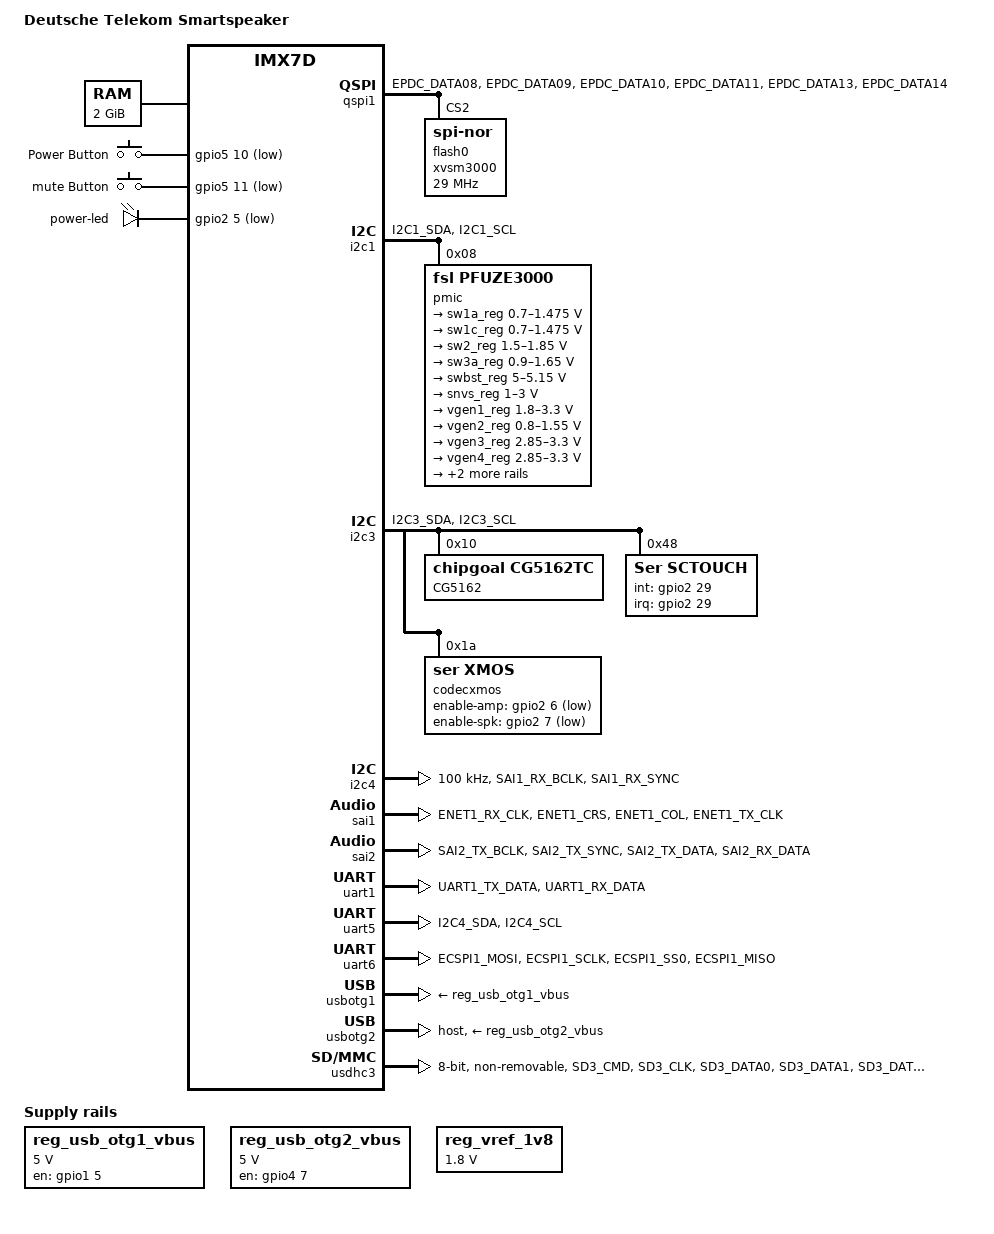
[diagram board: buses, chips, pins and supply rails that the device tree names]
/*
 * Copyright (C) 2015 Freescale Semiconductor, Inc.
 *
 * This file is dual-licensed: you can use it either under the terms
 * of the GPL or the X11 license, at your option. Note that this dual
 * licensing only applies to this file, and not this project as a
 * whole.
 *
 *  a) This file is free software; you can redistribute it and/or
 *     modify it under the terms of the GNU General Public License as
 *     published by the Free Software Foundation; either version 2 of the
 *     License, or (at your option) any later version.
 *
 *     This file is distributed in the hope that it will be useful,
 *     but WITHOUT ANY WARRANTY; without even the implied warranty of
 *     MERCHANTABILITY or FITNESS FOR A PARTICULAR PURPOSE.  See the
 *     GNU General Public License for more details.
 *
 * Or, alternatively,
 *
 *  b) Permission is hereby granted, free of charge, to any person
 *     obtaining a copy of this software and associated documentation
 *     files (the "Software"), to deal in the Software without
 *     restriction, including without limitation the rights to use,
 *     copy, modify, merge, publish, distribute, sublicense, and/or
 *     sell copies of the Software, and to permit persons to whom the
 *     Software is furnished to do so, subject to the following
 *     conditions:
 *
 *     The above copyright notice and this permission notice shall be
 *     included in all copies or substantial portions of the Software.
 *
 *     THE SOFTWARE IS PROVIDED "AS IS", WITHOUT WARRANTY OF ANY KIND,
 *     EXPRESS OR IMPLIED, INCLUDING BUT NOT LIMITED TO THE WARRANTIES
 *     OF MERCHANTABILITY, FITNESS FOR A PARTICULAR PURPOSE AND
 *     NONINFRINGEMENT. IN NO EVENT SHALL THE AUTHORS OR COPYRIGHT
 *     HOLDERS BE LIABLE FOR ANY CLAIM, DAMAGES OR OTHER LIABILITY,
 *     WHETHER IN AN ACTION OF CONTRACT, TORT OR OTHERWISE, ARISING
 *     FROM, OUT OF OR IN CONNECTION WITH THE SOFTWARE OR THE USE OR
 *     OTHER DEALINGS IN THE SOFTWARE.
 */

#include "imx7d.dtsi"

/ {
	model = "Deutsche Telekom Smartspeaker";
	compatible = "fsl,imx7-smarthub", "fsl,imx7d-sdb", "fsl,imx7d";

	memory {
		reg = <0x80000000 0x80000000>;
	};

	gpio-keys {
		compatible = "gpio-keys";
		pinctrl-names = "default";
		autorepeat;

		power {
			label = "Power Button";
			gpios = <&gpio5 10 GPIO_ACTIVE_LOW>;
			gpio-key,wakeup;
			linux,code = <KEY_POWER>;
		};

		mute {
			label = "mute Button";
			gpios = <&gpio5 11 GPIO_ACTIVE_LOW>;
			gpio-key,wakeup;
			linux,code = <KEY_MUTE>;
		};
	};

	leds {
		compatible = "gpio-leds";
		pinctrl-names = "default";
		pinctrl-0 = <&pinctrl_leds>;

		power {
			label = "power-led";
			gpios = <&gpio2 5 GPIO_ACTIVE_LOW>;
			default-state = "keep"; /* Keep state from u-boot bootloader */
		};
	};

	codecdcx81: dcx81 {
		compatible = "dsp,dcx81";
		status = "okay";
	};

	sound {
		compatible = "fsl,imx-audio-dcx81";
		/* the following values are currently ignored */
		model = "DECT-Voice";
		cpu-dai = <&sai1>;
		audio-codec = <&codecdcx81>;
	};

	sound-xmos {
		compatible = "fsl,imx-audio-xmos";
		model = "xmos-audio";
		cpu-dai = <&sai2>;
		audio-codec = <&codecxmos>;
		audio-routing =
			"Headphone Jack", "HP_L",
			"Headphone Jack", "HP_R",
			"Ext Spk", "SPK_LP",
			"Ext Spk", "SPK_LN",
			"Ext Spk", "SPK_RP",
			"Ext Spk", "SPK_RN",
			"LINPUT1", "Main MIC",
			"Main MIC", "MICB";
		assigned-clocks = <&clks IMX7D_AUDIO_MCLK_ROOT_SRC>,
			          <&clks IMX7D_AUDIO_MCLK_ROOT_CLK>;
		assigned-clock-parents = <&clks IMX7D_PLL_AUDIO_POST_DIV>;
		assigned-clock-rates = <0>, <24576000>;
	};

	reg_usb_otg1_vbus: regulator-usb-otg1-vbus {
		compatible = "regulator-fixed";
		regulator-name = "usb_otg1_vbus";
		regulator-min-microvolt = <5000000>;
		regulator-max-microvolt = <5000000>;
		gpio = <&gpio1 5 GPIO_ACTIVE_HIGH>;
		enable-active-high;
	};

	reg_usb_otg2_vbus: regulator-usb-otg1-vbus {
		compatible = "regulator-fixed";
		regulator-name = "usb_otg2_vbus";
		regulator-min-microvolt = <5000000>;
		regulator-max-microvolt = <5000000>;
		gpio = <&gpio4 7 GPIO_ACTIVE_HIGH>;
		enable-active-high;
	};

	reg_vref_1v8: regulator-vref-1v8 {
		compatible = "regulator-fixed";
		regulator-name = "vref-1v8";
		regulator-min-microvolt = <1800000>;
		regulator-max-microvolt = <1800000>;
	};
};

&aips1 {
	qspi1: qspi@30bb0000 {
		#address-cells = <1>;
		#size-cells = <0>;
		compatible = "fsl,imx7d-qspi";
		reg = <0x30bb0000 0x10000>, <0x60000000 0x10000000>;
		reg-names = "QuadSPI", "QuadSPI-memory";
		interrupts = <GIC_SPI 107 IRQ_TYPE_LEVEL_HIGH>;
		clocks = <&clks IMX7D_QSPI_ROOT_CLK>,
		         <&clks IMX7D_QSPI_ROOT_CLK>;
		clock-names = "qspi_en", "qspi";
		status = "disabled";
	};
};

&cpu0 {
	arm-supply = <&sw1a_reg>;
};

&i2c1 {
	pinctrl-names = "default";
	pinctrl-0 = <&pinctrl_i2c1>;
	status = "okay";

	pmic: pfuze3000@08 {
		compatible = "fsl,pfuze3000";
		reg = <0x08>;

		regulators {
			sw1a_reg: sw1a {
				regulator-min-microvolt = <700000>;
				regulator-max-microvolt = <1475000>;
				regulator-boot-on;
				regulator-always-on;
				regulator-ramp-delay = <6250>;
			};

			/* use sw1c_reg to align with pfuze100/pfuze200 */
			sw1c_reg: sw1b {
				regulator-min-microvolt = <700000>;
				regulator-max-microvolt = <1475000>;
				regulator-boot-on;
				regulator-always-on;
				regulator-ramp-delay = <6250>;
			};

			sw2_reg: sw2 {
				regulator-min-microvolt = <1500000>;
				regulator-max-microvolt = <1850000>;
				regulator-boot-on;
				regulator-always-on;
			};

			sw3a_reg: sw3 {
				regulator-min-microvolt = <900000>;
				regulator-max-microvolt = <1650000>;
				regulator-boot-on;
				regulator-always-on;
			};

			swbst_reg: swbst {
				regulator-min-microvolt = <5000000>;
				regulator-max-microvolt = <5150000>;
			};

			snvs_reg: vsnvs {
				regulator-min-microvolt = <1000000>;
				regulator-max-microvolt = <3000000>;
				regulator-boot-on;
				regulator-always-on;
			};

			vref_reg: vrefddr {
				regulator-boot-on;
				regulator-always-on;
			};

			vgen1_reg: vldo1 {
				regulator-min-microvolt = <1800000>;
				regulator-max-microvolt = <3300000>;
				regulator-always-on;
			};

			vgen2_reg: vldo2 {
				regulator-min-microvolt = <800000>;
				regulator-max-microvolt = <1550000>;
			};

			vgen3_reg: vccsd {
				regulator-min-microvolt = <2850000>;
				regulator-max-microvolt = <3300000>;
				regulator-always-on;
			};

			vgen4_reg: v33 {
				regulator-min-microvolt = <2850000>;
				regulator-max-microvolt = <3300000>;
				regulator-always-on;
			};

			vgen5_reg: vldo3 {
				regulator-min-microvolt = <1800000>;
				regulator-max-microvolt = <3300000>;
				regulator-always-on;
			};

			vgen6_reg: vldo4 {
				regulator-min-microvolt = <2800000>;
				regulator-max-microvolt = <2800000>;
				regulator-always-on;
			};
		};
	};
};

&i2c3 {
	pinctrl-names = "default";
	pinctrl-0 = <&pinctrl_i2c3>;
	status = "okay";

	CG5162: light@10 {
		compatible = "chipgoal,cg5162tc";
		reg = <0x10>;
		status = "okay";
	};

	sctouch: sctouch@48 {
		compatible = "Ser,sctouch";
		pinctrl-names = "default";
		pinctrl-0 = <&pinctrl_tsc2046_pendown>;
		interrupt-parent = <&gpio2>;
		interrupts = <29 0>;
		int-gpio = <&gpio2 29 0>;
		reg = <0x48>;
		status = "okay";
	};

	codecxmos: xmos@1a {
		compatible = "ser,xmos";
		pinctrl-names = "default";
		pinctrl-0 = <&pinctrl_headphone_amp>;
		enable-amp-gpio = <&gpio2 6 1>;
		enable-spk-gpio = <&gpio2 7 1>;
		reg = <0x1a>;
		clocks = <&clks IMX7D_AUDIO_MCLK_ROOT_CLK>;
		clock-names = "mclk";
	};
};

&i2c4 {
	clock-frequency = <100000>;
	pinctrl-names = "default";
	pinctrl-0 = <&pinctrl_i2c4>;
	status = "okay";
};

&qspi1 {
	pinctrl-names = "default", "gpio";
	pinctrl-0 = <&pinctrl_qspi1_spi>;
	pinctrl-1 = <&pinctrl_qspi1_gpio>;
	status = "okay";
	flash0: xvsm3000@0 {
		#address-cells = <1>;
		#size-cells = <1>;
		compatible = "jedec,spi-nor";
		spi-max-frequency = <29000000>;
		reg = <2>;

	};
};

&sai1 {
	pinctrl-names = "default";
	pinctrl-0 = <&pinctrl_sai1>;
	assigned-clocks = <&clks IMX7D_SAI1_ROOT_SRC>,
			  <&clks IMX7D_SAI1_ROOT_CLK>;
	assigned-clock-parents = <&clks IMX7D_EXT_CLK>;
	assigned-clock-rates = <0>, <24576000>;
	status = "okay";
};

&sai2 {
	pinctrl-names = "default";
	pinctrl-0 = <&pinctrl_sai2>;
	assigned-clocks = <&clks IMX7D_SAI2_ROOT_SRC>,
			  <&clks IMX7D_SAI2_ROOT_CLK>;
	assigned-clock-parents = <&clks IMX7D_EXT_CLK>;
	assigned-clock-rates = <0>, <24576000>;
	status = "okay";
};

&uart1 {
	pinctrl-names = "default";
	pinctrl-0 = <&pinctrl_uart1>;
	assigned-clocks = <&clks IMX7D_UART1_ROOT_SRC>;
	assigned-clock-parents = <&clks IMX7D_PLL_SYS_MAIN_240M_CLK>;
	status = "okay";
};

&uart5 {
	pinctrl-names = "default";
	pinctrl-0 = <&pinctrl_uart5>;
	assigned-clocks = <&clks IMX7D_UART5_ROOT_SRC>;
	assigned-clock-parents = <&clks IMX7D_PLL_SYS_MAIN_240M_CLK>;
	/* for DTE mode, add below change */
	/* fsl,dte-mode; */
	/* pinctrl-0 = <&pinctrl_uart5dte>; */
	status = "okay";
};

&uart6 {
	pinctrl-names = "default";
	pinctrl-0 = <&pinctrl_uart6>;
	assigned-clocks = <&clks IMX7D_UART6_ROOT_SRC>;
	assigned-clock-parents = <&clks IMX7D_PLL_SYS_MAIN_240M_CLK>;
	uart-has-rtscts;
	status = "okay";
};

&usbotg1 {
	vbus-supply = <&reg_usb_otg1_vbus>;
	srp-disable;
	hnp-disable;
	adp-disable;
	status = "okay";
};

&usbotg2 {
	vbus-supply = <&reg_usb_otg2_vbus>;
	dr_mode = "host";
	status = "okay";
};

&usdhc3 {
	pinctrl-names = "default", "state_100mhz", "state_200mhz";
	pinctrl-0 = <&pinctrl_usdhc3>;
	pinctrl-1 = <&pinctrl_usdhc3_100mhz>;
	pinctrl-2 = <&pinctrl_usdhc3_200mhz>;
	assigned-clocks = <&clks IMX7D_USDHC3_ROOT_CLK>;
	assigned-clock-rates = <400000000>;
	bus-width = <8>;
	fsl,tuning-step = <2>;
	non-removable;
	status = "okay";
};

&wdog1 {
	pinctrl-names = "default";
	pinctrl-0 = <&pinctrl_wdog>;
	fsl,ext-reset-output;	/* TODO: Needed? */
};

&iomuxc {
	pinctrl-names = "default";
	pinctrl-0 = <&pinctrl_hog &pinctrl_sc_gpio>;

	imx7d-smarthub {
		pinctrl_hog: hoggrp {
			fsl,pins = <
				MX7D_PAD_ECSPI2_SS0__GPIO4_IO23		0x80000000  /* bt reg on */
				MX7D_PAD_EPDC_BDR0__GPIO2_IO28		0x59 /* headphone detect */
			>;
		};

		pinctrl_sc_gpio: sc_gpio {
			fsl,pins = <
				MX7D_PAD_SD2_RESET_B__GPIO5_IO11	0x59	/*Mute Button*/
				MX7D_PAD_SD2_WP__GPIO5_IO10		0x59	/*Reset Button*/
				MX7D_PAD_EPDC_DATA00__GPIO2_IO0		0x59
				MX7D_PAD_EPDC_DATA01__GPIO2_IO1		0x59
				MX7D_PAD_EPDC_DATA02__GPIO2_IO2		0x59
				MX7D_PAD_EPDC_DATA03__GPIO2_IO3		0x59
				MX7D_PAD_EPDC_DATA04__GPIO2_IO4		0x59
				MX7D_PAD_EPDC_SDLE__GPIO2_IO17		0x80000000	/*RF Power*/
				MX7D_PAD_SD1_DATA1__CCM_EXT_CLK2	0x80000000
				MX7D_PAD_SD1_DATA0__GPIO5_IO5		0x19 /*HW Revision, default pull down 100K*/
				MX7D_PAD_SD1_DATA2__GPIO5_IO7		0x19 /*HW Revision, default pull down 100K*/
				MX7D_PAD_SD1_DATA3__GPIO5_IO8		0x19 /*HW Revision, default pull down 100K*/
			>;
		};

		pinctrl_headphone_amp: headphone_amp {
			fsl,pins = <
				MX7D_PAD_EPDC_DATA06__GPIO2_IO6		0x59
				MX7D_PAD_EPDC_DATA07__GPIO2_IO7		0x59
			>;
		};

		pinctrl_i2c1: i2c1grp {
			fsl,pins = <
				MX7D_PAD_I2C1_SDA__I2C1_SDA		0x4000007f
				MX7D_PAD_I2C1_SCL__I2C1_SCL		0x4000007f
			>;
		};

		pinctrl_i2c3: i2c3grp {
			fsl,pins = <
				MX7D_PAD_I2C3_SDA__I2C3_SDA		0x4000007f
				MX7D_PAD_I2C3_SCL__I2C3_SCL		0x4000007f
			>;
		};

		pinctrl_i2c4: i2c4grp {
			fsl,pins = <
				MX7D_PAD_SAI1_RX_BCLK__I2C4_SDA		0x4000007f
				MX7D_PAD_SAI1_RX_SYNC__I2C4_SCL		0x4000007f
			>;
		};

		pinctrl_leds: leds {
			fsl,pins = <
				MX7D_PAD_EPDC_DATA05__GPIO2_IO5		0x80000000 /* Power LED */
			>;
		};

		pinctrl_qspi1_spi: qspi1grp_1 {
			fsl,pins = <
				MX7D_PAD_EPDC_DATA08__QSPI_B_DATA0	0x51
				MX7D_PAD_EPDC_DATA09__QSPI_B_DATA1	0x51
				MX7D_PAD_EPDC_DATA10__QSPI_B_DATA2	0x51
				MX7D_PAD_EPDC_DATA11__QSPI_B_DATA3	0x51
				MX7D_PAD_EPDC_DATA13__QSPI_B_SCLK	0x51
				MX7D_PAD_EPDC_DATA14__QSPI_B_SS0_B	0x51
			>;
		};

		pinctrl_qspi1_gpio: qspi1grp_2 {
			fsl,pins = <
				MX7D_PAD_EPDC_DATA08__GPIO2_IO8         0x59
				MX7D_PAD_EPDC_DATA09__GPIO2_IO9         0x59
				MX7D_PAD_EPDC_DATA10__GPIO2_IO10        0x59
				MX7D_PAD_EPDC_DATA11__GPIO2_IO11        0x59
				MX7D_PAD_EPDC_DATA12__GPIO2_IO12        0x59
				MX7D_PAD_EPDC_DATA13__GPIO2_IO13        0x59
				MX7D_PAD_EPDC_DATA14__GPIO2_IO14        0x59
			>;
		};

		pinctrl_sai1: sai1grp {
			fsl,pins = <
				MX7D_PAD_ENET1_RX_CLK__SAI1_TX_BCLK	0x1f
				MX7D_PAD_ENET1_CRS__SAI1_TX_SYNC	0x1f
				MX7D_PAD_ENET1_COL__SAI1_TX_DATA0	0x30
				MX7D_PAD_ENET1_TX_CLK__SAI1_RX_DATA0	0x1f
			>;
		};

		pinctrl_sai2: sai2grp {
			fsl,pins = <
				/*MX7D_PAD_SAI1_MCLK__SAI2_MCLK		0x1f*/
				MX7D_PAD_SAI2_TX_BCLK__SAI2_TX_BCLK	0x1f
				MX7D_PAD_SAI2_TX_SYNC__SAI2_TX_SYNC	0x1f
				MX7D_PAD_SAI2_TX_DATA__SAI2_TX_DATA0	0x30
				MX7D_PAD_SAI2_RX_DATA__SAI2_RX_DATA0	0x1f
			>;
		};

		pinctrl_tsc2046_pendown: tsc2046_pendown {
			fsl,pins = <
				MX7D_PAD_EPDC_BDR1__GPIO2_IO29		0x59
			>;
		};

		pinctrl_uart1: uart1grp {
			fsl,pins = <
				MX7D_PAD_UART1_TX_DATA__UART1_DCE_TX	0x79
				MX7D_PAD_UART1_RX_DATA__UART1_DCE_RX	0x79
			>;
		};

		pinctrl_uart5: uart5grp {
			fsl,pins = <
				MX7D_PAD_I2C4_SDA__UART5_DCE_TX		0x79
				MX7D_PAD_I2C4_SCL__UART5_DCE_RX		0x79
			>;
		};

		pinctrl_uart5dte: uart5dtegrp {
			fsl,pins = <
				MX7D_PAD_SAI1_TX_BCLK__UART5_DTE_RX	0x79
				MX7D_PAD_SAI1_RX_DATA__UART5_DTE_TX	0x79
			>;
		};

		pinctrl_uart6: uart6grp {
			fsl,pins = <
				MX7D_PAD_ECSPI1_MOSI__UART6_DCE_TX	0x79
				MX7D_PAD_ECSPI1_SCLK__UART6_DCE_RX	0x79
				MX7D_PAD_ECSPI1_SS0__UART6_DCE_CTS	0x79
				MX7D_PAD_ECSPI1_MISO__UART6_DCE_RTS	0x79
			>;
		};

		pinctrl_usbotg2_pwr_1: usbotg2-1 {
			fsl,pins = <
				MX7D_PAD_UART3_CTS_B__GPIO4_IO7		0x14
			>;
		};

		pinctrl_usdhc3: usdhc3grp {
			fsl,pins = <
				MX7D_PAD_SD3_CMD__SD3_CMD		0x59
				MX7D_PAD_SD3_CLK__SD3_CLK		0x19
				MX7D_PAD_SD3_DATA0__SD3_DATA0		0x59
				MX7D_PAD_SD3_DATA1__SD3_DATA1		0x59
				MX7D_PAD_SD3_DATA2__SD3_DATA2		0x59
				MX7D_PAD_SD3_DATA3__SD3_DATA3		0x59
				MX7D_PAD_SD3_DATA4__SD3_DATA4		0x59
				MX7D_PAD_SD3_DATA5__SD3_DATA5		0x59
				MX7D_PAD_SD3_DATA6__SD3_DATA6		0x59
				MX7D_PAD_SD3_DATA7__SD3_DATA7		0x59
				MX7D_PAD_SD3_STROBE__SD3_STROBE		0x19
			>;
		};

		pinctrl_usdhc3_100mhz: usdhc3grp_100mhz {
			fsl,pins = <
				MX7D_PAD_SD3_CMD__SD3_CMD		0x5a
				MX7D_PAD_SD3_CLK__SD3_CLK		0x1a
				MX7D_PAD_SD3_DATA0__SD3_DATA0		0x5a
				MX7D_PAD_SD3_DATA1__SD3_DATA1		0x5a
				MX7D_PAD_SD3_DATA2__SD3_DATA2		0x5a
				MX7D_PAD_SD3_DATA3__SD3_DATA3		0x5a
				MX7D_PAD_SD3_DATA4__SD3_DATA4		0x5a
				MX7D_PAD_SD3_DATA5__SD3_DATA5		0x5a
				MX7D_PAD_SD3_DATA6__SD3_DATA6		0x5a
				MX7D_PAD_SD3_DATA7__SD3_DATA7		0x5a
				MX7D_PAD_SD3_STROBE__SD3_STROBE		0x1a
			>;
		};

		pinctrl_usdhc3_200mhz: usdhc3grp_200mhz {
			fsl,pins = <
				MX7D_PAD_SD3_CMD__SD3_CMD		0x5b
				MX7D_PAD_SD3_CLK__SD3_CLK		0x1b
				MX7D_PAD_SD3_DATA0__SD3_DATA0		0x5b
				MX7D_PAD_SD3_DATA1__SD3_DATA1		0x5b
				MX7D_PAD_SD3_DATA2__SD3_DATA2		0x5b
				MX7D_PAD_SD3_DATA3__SD3_DATA3		0x5b
				MX7D_PAD_SD3_DATA4__SD3_DATA4		0x5b
				MX7D_PAD_SD3_DATA5__SD3_DATA5		0x5b
				MX7D_PAD_SD3_DATA6__SD3_DATA6		0x5b
				MX7D_PAD_SD3_DATA7__SD3_DATA7		0x5b
				MX7D_PAD_SD3_STROBE__SD3_STROBE		0x1b
			>;
		};
	};
};

&iomuxc_lpsr {
	pinctrl_hog_2: hoggrp-2 {
		fsl,pins = <
			MX7D_PAD_LPSR_GPIO1_IO05__GPIO1_IO5		0x14
		>;
	};

	pinctrl_usbotg2_pwr_2: usbotg2-2 {
		fsl,pins = <
			MX7D_PAD_LPSR_GPIO1_IO07__GPIO1_IO7			0x14
		>;
	};

	pinctrl_wdog: wdoggrp {
		fsl,pins = <
			MX7D_PAD_LPSR_GPIO1_IO00__WDOG1_WDOG_B		0x74
		>;
	};
};

#include "imx7d-smarthub-m4.dtsi"
